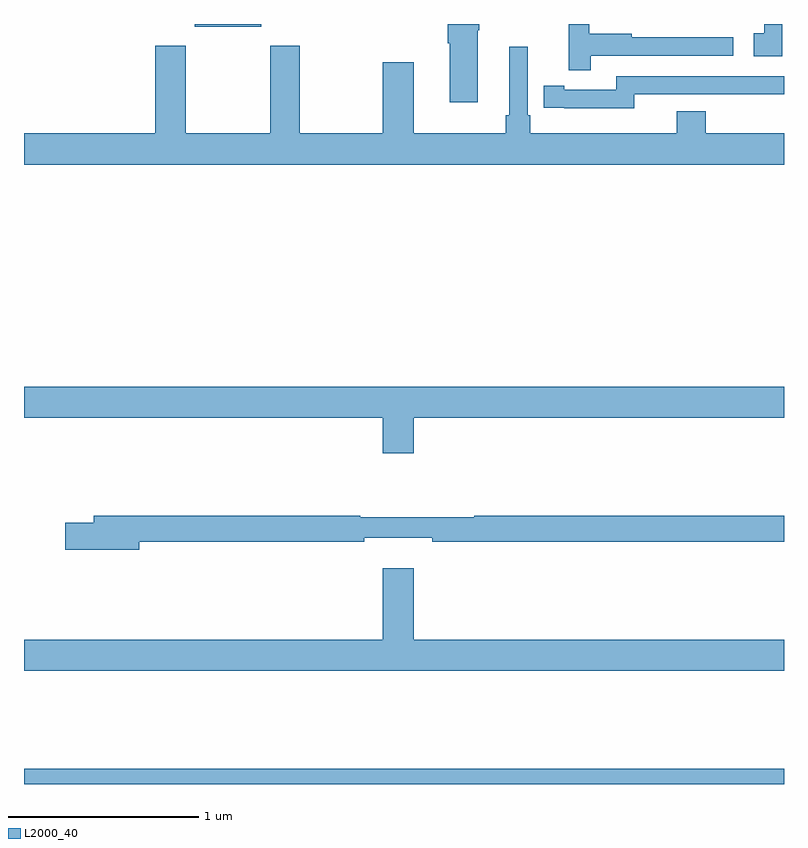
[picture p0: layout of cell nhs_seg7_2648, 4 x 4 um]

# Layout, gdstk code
import gdstk
lib = gdstk.Library(unit=1e-6, precision=1e-09)
def R(c, l, rs):  # rectangles x0, y0, x1, y1
    for r in rs: c.add(gdstk.rectangle(r[:2], r[2:], *l))
def P(c, l, *ps):  # polygons
    for p in ps: c.add(gdstk.Polygon(p, *l))
L2000_40 = (2000, 40)

nhs_seg7_2648 = lib.new_cell('nhs_seg7_2648')
R(nhs_seg7_2648, L2000_40, [(283,1020,287,1020.08), (283.898,1023.986,284.248,1024)])
P(nhs_seg7_2648, L2000_40, [(285.983,1023.834),(286.732,1023.834),(286.732,1023.93),(286.199,1023.93),(286.199,1023.95),(285.976,1023.95),(285.976,1024),(285.866,1024),(285.866,1023.756),(285.983,1023.756)],
  [(286.992,1024),(286.895,1024),(286.895,1023.951),(286.842,1023.951),(286.842,1023.831),(286.992,1023.831)],
  [(285.388,1023.967),(285.396,1023.967),(285.396,1024),(285.23,1024),(285.23,1023.9),(285.242,1023.9),(285.242,1023.588),(285.388,1023.588)],
  [(287,1023.424),(286.589,1023.424),(286.589,1023.541),(286.436,1023.541),(286.436,1023.424),(285.665,1023.424),(285.665,1023.52),(285.651,1023.52),(285.651,1023.88),(285.554,1023.88),(285.554,1023.52),(285.535,1023.52),(285.535,1023.424),(285.052,1023.424),(285.052,1023.799),(284.888,1023.799),(284.888,1023.424),(284.451,1023.424),(284.451,1023.886),(284.296,1023.886),(284.296,1023.424),(283.851,1023.424),(283.851,1023.886),(283.691,1023.886),(283.691,1023.424),(283,1023.424),(283,1023.26),(287,1023.26)],
  [(286.212,1023.63),(286.672,1023.63),(286.672,1023.629),(287,1023.629),(287,1023.726),(286.116,1023.726),(286.116,1023.654),(285.844,1023.654),(285.844,1023.674),(285.736,1023.674),(285.736,1023.558),(285.844,1023.558),(285.844,1023.557),(286.212,1023.557)],
  [(285.052,1021.928),(287,1021.928),(287,1022.092),(283,1022.092),(283,1021.928),(284.888,1021.928),(284.888,1021.74),(285.052,1021.74)],
  [(283.606,1021.276),(284.792,1021.276),(284.792,1021.295),(285.148,1021.295),(285.148,1021.276),(287,1021.276),(287,1021.412),(285.371,1021.412),(285.371,1021.405),(284.771,1021.405),(284.771,1021.412),(283.367,1021.412),(283.367,1021.376),(283.218,1021.376),(283.218,1021.234),(283.606,1021.234)],
  [(284.888,1021.135),(284.888,1020.76),(283,1020.76),(283,1020.596),(287,1020.596),(287,1020.76),(285.052,1020.76),(285.052,1021.135)])

lib.write_gds('nhs_seg7_2648.gds')
